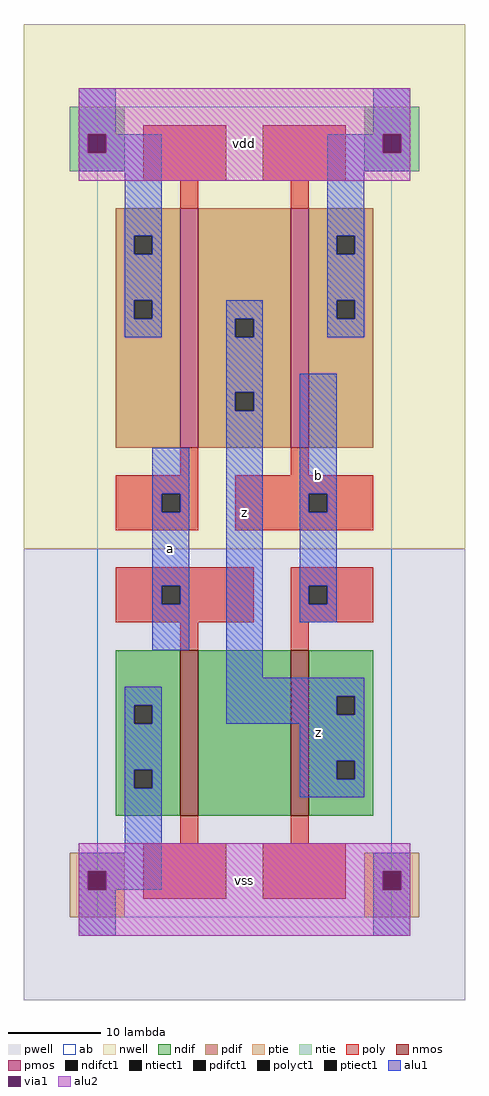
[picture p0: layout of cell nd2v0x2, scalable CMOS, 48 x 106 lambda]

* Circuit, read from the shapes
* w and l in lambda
.subckt nd2v0x2 a b vdd vss z
M1 n1 a vss vss nfet w=18 l=2
M2 z b n1 vss nfet w=18 l=2
M3 z a vdd vdd pfet w=26 l=2
M4 vdd b z vdd pfet w=26 l=2
.ends

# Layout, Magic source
magic
tech scmos
<< ab >>
rect 0 0 32 88
<< nwell >>
rect -8 40 40 97
<< pwell >>
rect -8 -9 40 40
<< poly >>
rect 5 80 14 86
rect 18 80 27 86
rect 9 77 11 80
rect 21 77 23 80
rect 9 48 11 51
rect 21 48 23 51
rect 2 46 11 48
rect 2 44 7 46
rect 9 44 11 46
rect 2 42 11 44
rect 15 46 30 48
rect 15 44 23 46
rect 25 44 30 46
rect 15 42 30 44
rect 2 36 17 38
rect 2 34 7 36
rect 9 34 17 36
rect 2 32 17 34
rect 21 36 30 38
rect 21 34 23 36
rect 25 34 30 36
rect 21 32 30 34
rect 9 29 11 32
rect 21 29 23 32
rect 9 8 11 11
rect 21 8 23 11
rect 5 2 14 8
rect 18 2 27 8
<< ndif >>
rect 2 23 9 29
rect 2 21 4 23
rect 6 21 9 23
rect 2 16 9 21
rect 2 14 4 16
rect 6 14 9 16
rect 2 11 9 14
rect 11 11 21 29
rect 23 24 30 29
rect 23 22 26 24
rect 28 22 30 24
rect 23 17 30 22
rect 23 15 26 17
rect 28 15 30 17
rect 23 11 30 15
<< pdif >>
rect 2 74 9 77
rect 2 72 4 74
rect 6 72 9 74
rect 2 67 9 72
rect 2 65 4 67
rect 6 65 9 67
rect 2 51 9 65
rect 11 65 21 77
rect 11 63 15 65
rect 17 63 21 65
rect 11 57 21 63
rect 11 55 15 57
rect 17 55 21 57
rect 11 51 21 55
rect 23 74 30 77
rect 23 72 26 74
rect 28 72 30 74
rect 23 67 30 72
rect 23 65 26 67
rect 28 65 30 67
rect 23 51 30 65
<< alu1 >>
rect -2 85 2 90
rect 30 85 34 90
rect -2 83 -1 85
rect 1 83 7 85
rect -2 81 7 83
rect 3 74 7 81
rect 3 72 4 74
rect 6 72 7 74
rect 3 67 7 72
rect 25 83 31 85
rect 33 83 34 85
rect 25 81 34 83
rect 25 74 29 81
rect 25 72 26 74
rect 28 72 29 74
rect 25 67 29 72
rect 3 65 4 67
rect 6 65 7 67
rect 3 63 7 65
rect 14 65 18 67
rect 14 63 15 65
rect 17 63 18 65
rect 25 65 26 67
rect 28 65 29 67
rect 25 63 29 65
rect 14 57 18 63
rect 14 55 15 57
rect 17 55 18 57
rect 6 46 10 51
rect 6 44 7 46
rect 9 44 10 46
rect 6 36 10 44
rect 6 34 7 36
rect 9 34 10 36
rect 6 29 10 34
rect 14 26 18 55
rect 22 46 26 59
rect 22 44 23 46
rect 25 44 26 46
rect 22 36 26 44
rect 22 34 23 36
rect 25 34 26 36
rect 22 32 26 34
rect 3 23 7 25
rect 3 21 4 23
rect 6 21 7 23
rect 14 24 29 26
rect 14 22 26 24
rect 28 22 29 24
rect 14 21 29 22
rect 3 16 7 21
rect 3 14 4 16
rect 6 14 7 16
rect 3 7 7 14
rect 22 17 29 21
rect 22 15 26 17
rect 28 15 29 17
rect 22 13 29 15
rect -2 5 7 7
rect -2 3 -1 5
rect 1 3 7 5
rect 30 5 34 7
rect 30 3 31 5
rect 33 3 34 5
rect -2 -2 2 3
rect 30 -2 34 3
<< alu2 >>
rect -2 85 34 90
rect -2 83 -1 85
rect 1 83 31 85
rect 33 83 34 85
rect -2 80 34 83
rect -2 5 34 8
rect -2 3 -1 5
rect 1 3 31 5
rect 33 3 34 5
rect -2 -2 34 3
<< ptie >>
rect -3 5 3 7
rect -3 3 -1 5
rect 1 3 3 5
rect -3 0 3 3
rect 29 5 35 7
rect 29 3 31 5
rect 33 3 35 5
rect 29 0 35 3
<< ntie >>
rect -3 85 3 88
rect -3 83 -1 85
rect 1 83 3 85
rect -3 81 3 83
rect 29 85 35 88
rect 29 83 31 85
rect 33 83 35 85
rect 29 81 35 83
<< nmos >>
rect 9 11 11 29
rect 21 11 23 29
<< pmos >>
rect 9 51 11 77
rect 21 51 23 77
<< polyct1 >>
rect 7 44 9 46
rect 23 44 25 46
rect 7 34 9 36
rect 23 34 25 36
<< ndifct1 >>
rect 4 21 6 23
rect 4 14 6 16
rect 26 22 28 24
rect 26 15 28 17
<< ntiect1 >>
rect -1 83 1 85
rect 31 83 33 85
<< ptiect1 >>
rect -1 3 1 5
rect 31 3 33 5
<< pdifct1 >>
rect 4 72 6 74
rect 4 65 6 67
rect 15 63 17 65
rect 15 55 17 57
rect 26 72 28 74
rect 26 65 28 67
<< via1 >>
rect -1 83 1 85
rect 31 83 33 85
rect -1 3 1 5
rect 31 3 33 5
<< labels >>
rlabel alu1 8 40 8 40 6 a
rlabel alu1 16 44 16 44 6 z
rlabel alu1 24 20 24 20 6 z
rlabel alu1 24 48 24 48 6 b
rlabel alu2 16 4 16 4 6 vss
rlabel alu2 16 84 16 84 6 vdd
<< end >>
